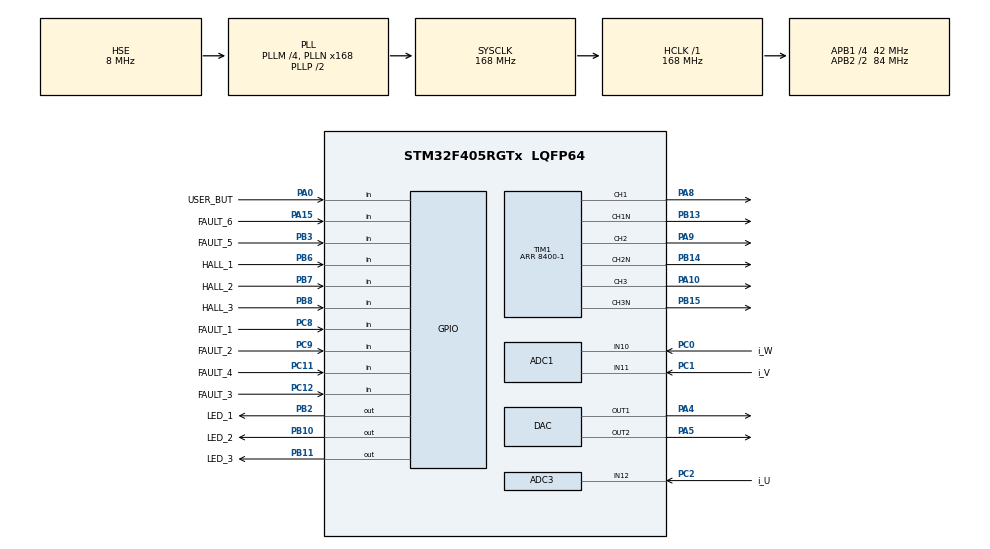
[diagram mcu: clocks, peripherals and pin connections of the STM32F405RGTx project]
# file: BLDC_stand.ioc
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Mcu.Family=STM32F4
PH0-OSC_IN.Signal=RCC_OSC_IN
RCC.CortexFreq_Value=168000000
TIM1.OCIdleState_1=TIM_OCIDLESTATE_SET
TIM1.OCIdleState_2=TIM_OCIDLESTATE_SET
TIM1.OCIdleState_3=TIM_OCIDLESTATE_SET
PC12.Signal=GPIO_Input
PC0.GPIO_Label=i_W
PB6.GPIO_Label=HALL_1
PB11.Signal=GPIO_Output
PB13.Signal=TIM1_CH1N
PB15.Signal=TIM1_CH3N
ADC3.Channel-0\#ChannelRegularConversion=ADC_CHANNEL_12
RCC.SYSCLKSource=RCC_SYSCLKSOURCE_PLLCLK
ProjectManager.StackSize=0x400
SH.COMP_DAC2_group.0=DAC_OUT2,DAC_OUT2
PA9.GPIO_ModeDefaultPP=GPIO_MODE_AF_OD
PB15.GPIO_ModeDefaultPP=GPIO_MODE_AF_OD
PA15.GPIO_Label=FAULT_6
RCC.HCLKFreq_Value=168000000
RCC.APB2TimFreq_Value=168000000
PB6.Signal=GPIO_Input
PA10.GPIO_ModeDefaultPP=GPIO_MODE_AF_OD
RCC.AHBFreq_Value=168000000
PH0-OSC_IN.Mode=HSE-External-Oscillator
ADC1.Channel-0\#ChannelRegularConversion=ADC_CHANNEL_10
RCC.HSE_VALUE=8000000
PB2.Signal=GPIO_Output
PB14.GPIO_ModeDefaultPP=GPIO_MODE_AF_OD
PA14.Mode=Serial_Wire
PB14.Mode=PWM Generation2 CH2 CH2N
TIM1.DeadTime=250
PC11.GPIO_Label=FAULT_4
PB7.Signal=GPIO_Input
PA8.Signal=S_TIM1_CH1
VP_TIM1_VS_ClockSourceINT.Mode=Internal
ADC1.SamplingTime-0\#ChannelRegularConversion=ADC_SAMPLETIME_3CYCLES
PB7.GPIO_Label=HALL_2
PH1-OSC_OUT.Mode=HSE-External-Oscillator
Mcu.Package=LQFP64
ADC3.Rank-0\#ChannelRegularConversion=1
PA10.Signal=S_TIM1_CH3
PA15.Signal=GPIO_Input
RCC.APB2CLKDivider=RCC_HCLK_DIV2
RCC.APB1TimFreq_Value=84000000
TIM1.Period=8400-1
PB13.Mode=PWM Generation1 CH1 CH1N
PC2.GPIO_Label=i_U
PB3.GPIO_Label=FAULT_5
RCC.PLLSourceVirtual=RCC_PLLSOURCE_HSE
SH.COMP_DAC1_group.0=DAC_OUT1,DAC_OUT1
TIM1.OCPolarity_1=TIM_OCPOLARITY_LOW
TIM1.OCPolarity_3=TIM_OCPOLARITY_LOW
TIM1.OCPolarity_2=TIM_OCPOLARITY_LOW
ADC1.Rank-0\#ChannelRegularConversion=1
PC9.GPIO_Label=FAULT_2
TIM1.CounterMode=TIM_COUNTERMODE_CENTERALIGNED1
PC11.Signal=GPIO_Input
PC8.Signal=GPIO_Input
PC2.Signal=ADCx_IN12
PB11.GPIO_Label=LED_3
TIM1.Channel-PWM\ Generation1\ CH1\ CH1N=TIM_CHANNEL_1
PC0.Signal=ADCx_IN10
RCC.APB1CLKDivider=RCC_HCLK_DIV4
PA0-WKUP.GPIO_Label=USER_BUT
PA0-WKUP.Signal=GPIO_Input
PB13.GPIO_ModeDefaultPP=GPIO_MODE_AF_OD
PC8.GPIO_Label=FAULT_1
PA13.Signal=SYS_JTMS-SWDIO
PB8.GPIO_Label=HALL_3
TIM1.Channel-PWM\ Generation2\ CH2\ CH2N=TIM_CHANNEL_2
SH.ADCx_IN12.0=ADC3_IN12,IN12
ADC3.SamplingTime-0\#ChannelRegularConversion=ADC_SAMPLETIME_3CYCLES
SH.S_TIM1_CH1.0=TIM1_CH1,PWM Generation1 CH1 CH1N
ProjectManager.TargetToolchain=STM32CubeIDE
PB10.GPIO_Label=LED_2
PA9.Signal=S_TIM1_CH2
TIM1.Channel-PWM\ Generation3\ CH3\ CH3N=TIM_CHANNEL_3
RCC.LSE_VALUE=32768
PB10.Signal=GPIO_Output
PB14.Signal=TIM1_CH2N
PA5.Signal=COMP_DAC2_group
board=custom
PA8.GPIO_ModeDefaultPP=GPIO_MODE_AF_OD
RCC.VCOOutputFreq_Value=336000000
TIM1.OCNPolarity_1=TIM_OCNPOLARITY_LOW
TIM1.OCNIdleState_3=TIM_OCNIDLESTATE_SET
PB15.Mode=PWM Generation3 CH3 CH3N
TIM1.OCNIdleState_2=TIM_OCNIDLESTATE_SET
TIM1.OCNIdleState_1=TIM_OCNIDLESTATE_SET
RCC.APB2Freq_Value=84000000
TIM1.OCNPolarity_3=TIM_OCNPOLARITY_LOW
TIM1.OCNPolarity_2=TIM_OCNPOLARITY_LOW
SH.ADCx_IN11.0=ADC1_IN11,IN11
SH.S_TIM1_CH2.0=TIM1_CH2,PWM Generation2 CH2 CH2N
PC1.GPIO_Label=i_V
PH1-OSC_OUT.Signal=RCC_OSC_OUT
PA13.Mode=Serial_Wire
Mcu.Name=STM32F405RGTx
RCC.48MHZClocksFreq_Value=84000000
PB3.Signal=GPIO_Input
PA4.Signal=COMP_DAC1_group
RCC.SYSCLKFreq_VALUE=168000000
ADC1.master=1
PC12.GPIO_Label=FAULT_3
PA14.Signal=SYS_JTCK-SWCLK
PB2.GPIO_Label=LED_1
SH.ADCx_IN10.0=ADC1_IN10,IN10
ProjectManager.HeapSize=0x200
SH.S_TIM1_CH3.0=TIM1_CH3,PWM Generation3 CH3 CH3N
NVIC.TIM1_UP_TIM10_IRQn=true\:0\:0\:false\:false\:true\:true\:true
RCC.HSI_VALUE=16000000
NVIC.PriorityGroup=NVIC_PRIORITYGROUP_4
ADC1.NbrOfConversionFlag=1
RCC.PLLM=4
RCC.PLLN=168
PB8.Signal=GPIO_Input
PC9.Signal=GPIO_Input
RCC.APB1Freq_Value=42000000
ADC3.NbrOfConversionFlag=1
PC1.Signal=ADCx_IN11

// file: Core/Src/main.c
/* USER CODE BEGIN Header */
/**
  ******************************************************************************
  * @file           : main.c
  * @brief          : Main program body
  ******************************************************************************
  * @attention
  *
  * <h2><center>&copy; Copyright (c) 2021 STMicroelectronics.
  * All rights reserved.</center></h2>
  *
  * This software component is licensed by ST under BSD 3-Clause license,
  * the "License"; You may not use this file except in compliance with the
  * License. You may obtain a copy of the License at:
  *                        opensource.org/licenses/BSD-3-Clause
  *
  ******************************************************************************
  */
/* USER CODE END Header */
#include "main.h"

ADC_HandleTypeDef hadc1;
ADC_HandleTypeDef hadc3;

DAC_HandleTypeDef hdac;

TIM_HandleTypeDef htim1;

/* USER CODE BEGIN PV */

uint8_t HAL_state[3];

/* USER CODE END PV */

void SystemClock_Config(void);
static void MX_GPIO_Init(void);
static void MX_ADC1_Init(void);
static void MX_ADC3_Init(void);
static void MX_DAC_Init(void);
static void MX_TIM1_Init(void);

int main(void)
{

  /* MCU Configuration--------------------------------------------------------*/

  /* Reset of all peripherals, Initializes the Flash interface and the Systick. */
  HAL_Init();

  /* Configure the system clock */
  SystemClock_Config();

  /* Initialize all configured peripherals */
  MX_GPIO_Init();
  MX_ADC1_Init();
  MX_ADC3_Init();
  MX_DAC_Init();
  MX_TIM1_Init();
  /* USER CODE BEGIN 2 */
  //User init

  flag = 0.01f;
  Amp = 0.2f;
  zadFreq = 0;

  HAL_TIM_Base_Start_IT(&htim1);
  Device_PWM_Channels_ON();

  /* USER CODE END 2 */

  /* Infinite loop */
  while (1)
  {

    /* USER CODE BEGIN 3 */

	  HAL_state[0] = HAL_GPIO_ReadPin(GPIOB, HALL_1_Pin);
	  HAL_state[1] = HAL_GPIO_ReadPin(GPIOB, HALL_2_Pin);
	  HAL_state[2] = HAL_GPIO_ReadPin(GPIOB, HALL_3_Pin);

	  if (HAL_state[0]){
		  HAL_GPIO_WritePin(GPIOB, LED_1_Pin, GPIO_PIN_SET);
	  } else {
		  HAL_GPIO_WritePin(GPIOB, LED_1_Pin, GPIO_PIN_RESET);
	  }

	  if (HAL_state[1]){
	  	HAL_GPIO_WritePin(GPIOB, LED_2_Pin, GPIO_PIN_SET);
	  } else {
	  	HAL_GPIO_WritePin(GPIOB, LED_2_Pin, GPIO_PIN_RESET);
	  }

	  if (HAL_state[2]){
	  	HAL_GPIO_WritePin(GPIOB, LED_3_Pin, GPIO_PIN_SET);
	  } else {
	  	HAL_GPIO_WritePin(GPIOB, LED_3_Pin, GPIO_PIN_RESET);
	  }

  }
  /* USER CODE END 3 */
}

void SystemClock_Config(void)
{
  RCC_OscInitTypeDef RCC_OscInitStruct = {0};
  RCC_ClkInitTypeDef RCC_ClkInitStruct = {0};

  /** Configure the main internal regulator output voltage
  */
  __HAL_RCC_PWR_CLK_ENABLE();
  __HAL_PWR_VOLTAGESCALING_CONFIG(PWR_REGULATOR_VOLTAGE_SCALE1);
  /** Initializes the RCC Oscillators according to the specified parameters
  * in the RCC_OscInitTypeDef structure.
  */
  RCC_OscInitStruct.OscillatorType = RCC_OSCILLATORTYPE_HSE;
  RCC_OscInitStruct.HSEState = RCC_HSE_ON;
  RCC_OscInitStruct.PLL.PLLState = RCC_PLL_ON;
  RCC_OscInitStruct.PLL.PLLSource = RCC_PLLSOURCE_HSE;
  RCC_OscInitStruct.PLL.PLLM = 4;
  RCC_OscInitStruct.PLL.PLLN = 168;
  RCC_OscInitStruct.PLL.PLLP = RCC_PLLP_DIV2;
  RCC_OscInitStruct.PLL.PLLQ = 4;
  if (HAL_RCC_OscConfig(&RCC_OscInitStruct) != HAL_OK)
  {
    Error_Handler();
  }
  /** Initializes the CPU, AHB and APB buses clocks
  */
  RCC_ClkInitStruct.ClockType = RCC_CLOCKTYPE_HCLK|RCC_CLOCKTYPE_SYSCLK
                              |RCC_CLOCKTYPE_PCLK1|RCC_CLOCKTYPE_PCLK2;
  RCC_ClkInitStruct.SYSCLKSource = RCC_SYSCLKSOURCE_PLLCLK;
  RCC_ClkInitStruct.AHBCLKDivider = RCC_SYSCLK_DIV1;
  RCC_ClkInitStruct.APB1CLKDivider = RCC_HCLK_DIV4;
  RCC_ClkInitStruct.APB2CLKDivider = RCC_HCLK_DIV2;

  if (HAL_RCC_ClockConfig(&RCC_ClkInitStruct, FLASH_LATENCY_5) != HAL_OK)
  {
    Error_Handler();
  }
}

static void MX_ADC1_Init(void)
{

  ADC_ChannelConfTypeDef sConfig = {0};

  /** Configure the global features of the ADC (Clock, Resolution, Data Alignment and number of conversion)
  */
  hadc1.Instance = ADC1;
  hadc1.Init.ClockPrescaler = ADC_CLOCK_SYNC_PCLK_DIV4;
  hadc1.Init.Resolution = ADC_RESOLUTION_12B;
  hadc1.Init.ScanConvMode = DISABLE;
  hadc1.Init.ContinuousConvMode = DISABLE;
  hadc1.Init.DiscontinuousConvMode = DISABLE;
  hadc1.Init.ExternalTrigConvEdge = ADC_EXTERNALTRIGCONVEDGE_NONE;
  hadc1.Init.ExternalTrigConv = ADC_SOFTWARE_START;
  hadc1.Init.DataAlign = ADC_DATAALIGN_RIGHT;
  hadc1.Init.NbrOfConversion = 1;
  hadc1.Init.DMAContinuousRequests = DISABLE;
  hadc1.Init.EOCSelection = ADC_EOC_SINGLE_CONV;
  if (HAL_ADC_Init(&hadc1) != HAL_OK)
  {
    Error_Handler();
  }
  /** Configure for the selected ADC regular channel its corresponding rank in the sequencer and its sample time.
  */
  sConfig.Channel = ADC_CHANNEL_10;
  sConfig.Rank = 1;
  sConfig.SamplingTime = ADC_SAMPLETIME_3CYCLES;
  if (HAL_ADC_ConfigChannel(&hadc1, &sConfig) != HAL_OK)
  {
    Error_Handler();
  }

}

static void MX_ADC3_Init(void)
{

  ADC_ChannelConfTypeDef sConfig = {0};

  /** Configure the global features of the ADC (Clock, Resolution, Data Alignment and number of conversion)
  */
  hadc3.Instance = ADC3;
  hadc3.Init.ClockPrescaler = ADC_CLOCK_SYNC_PCLK_DIV4;
  hadc3.Init.Resolution = ADC_RESOLUTION_12B;
  hadc3.Init.ScanConvMode = DISABLE;
  hadc3.Init.ContinuousConvMode = DISABLE;
  hadc3.Init.DiscontinuousConvMode = DISABLE;
  hadc3.Init.ExternalTrigConvEdge = ADC_EXTERNALTRIGCONVEDGE_NONE;
  hadc3.Init.ExternalTrigConv = ADC_SOFTWARE_START;
  hadc3.Init.DataAlign = ADC_DATAALIGN_RIGHT;
  hadc3.Init.NbrOfConversion = 1;
  hadc3.Init.DMAContinuousRequests = DISABLE;
  hadc3.Init.EOCSelection = ADC_EOC_SINGLE_CONV;
  if (HAL_ADC_Init(&hadc3) != HAL_OK)
  {
    Error_Handler();
  }
  /** Configure for the selected ADC regular channel its corresponding rank in the sequencer and its sample time.
  */
  sConfig.Channel = ADC_CHANNEL_12;
  sConfig.Rank = 1;
  sConfig.SamplingTime = ADC_SAMPLETIME_3CYCLES;
  if (HAL_ADC_ConfigChannel(&hadc3, &sConfig) != HAL_OK)
  {
    Error_Handler();
  }

}

static void MX_DAC_Init(void)
{

  DAC_ChannelConfTypeDef sConfig = {0};

  /** DAC Initialization
  */
  hdac.Instance = DAC;
  if (HAL_DAC_Init(&hdac) != HAL_OK)
  {
    Error_Handler();
  }
  /** DAC channel OUT1 config
  */
  sConfig.DAC_Trigger = DAC_TRIGGER_NONE;
  sConfig.DAC_OutputBuffer = DAC_OUTPUTBUFFER_ENABLE;
  if (HAL_DAC_ConfigChannel(&hdac, &sConfig, DAC_CHANNEL_1) != HAL_OK)
  {
    Error_Handler();
  }
  /** DAC channel OUT2 config
  */
  if (HAL_DAC_ConfigChannel(&hdac, &sConfig, DAC_CHANNEL_2) != HAL_OK)
  {
    Error_Handler();
  }

}

static void MX_TIM1_Init(void)
{

  TIM_ClockConfigTypeDef sClockSourceConfig = {0};
  TIM_MasterConfigTypeDef sMasterConfig = {0};
  TIM_OC_InitTypeDef sConfigOC = {0};
  TIM_BreakDeadTimeConfigTypeDef sBreakDeadTimeConfig = {0};

  htim1.Instance = TIM1;
  htim1.Init.Prescaler = 0;
  htim1.Init.CounterMode = TIM_COUNTERMODE_CENTERALIGNED1;
  htim1.Init.Period = 8400-1;
  htim1.Init.ClockDivision = TIM_CLOCKDIVISION_DIV1;
  htim1.Init.RepetitionCounter = 0;
  htim1.Init.AutoReloadPreload = TIM_AUTORELOAD_PRELOAD_DISABLE;
  if (HAL_TIM_Base_Init(&htim1) != HAL_OK)
  {
    Error_Handler();
  }
  sClockSourceConfig.ClockSource = TIM_CLOCKSOURCE_INTERNAL;
  if (HAL_TIM_ConfigClockSource(&htim1, &sClockSourceConfig) != HAL_OK)
  {
    Error_Handler();
  }
  if (HAL_TIM_PWM_Init(&htim1) != HAL_OK)
  {
    Error_Handler();
  }
  sMasterConfig.MasterOutputTrigger = TIM_TRGO_RESET;
  sMasterConfig.MasterSlaveMode = TIM_MASTERSLAVEMODE_DISABLE;
  if (HAL_TIMEx_MasterConfigSynchronization(&htim1, &sMasterConfig) != HAL_OK)
  {
    Error_Handler();
  }
  sConfigOC.OCMode = TIM_OCMODE_PWM1;
  sConfigOC.Pulse = 0;
  sConfigOC.OCPolarity = TIM_OCPOLARITY_LOW;
  sConfigOC.OCNPolarity = TIM_OCNPOLARITY_LOW;
  sConfigOC.OCFastMode = TIM_OCFAST_DISABLE;
  sConfigOC.OCIdleState = TIM_OCIDLESTATE_SET;
  sConfigOC.OCNIdleState = TIM_OCNIDLESTATE_SET;
  if (HAL_TIM_PWM_ConfigChannel(&htim1, &sConfigOC, TIM_CHANNEL_1) != HAL_OK)
  {
    Error_Handler();
  }
  if (HAL_TIM_PWM_ConfigChannel(&htim1, &sConfigOC, TIM_CHANNEL_2) != HAL_OK)
  {
    Error_Handler();
  }
  if (HAL_TIM_PWM_ConfigChannel(&htim1, &sConfigOC, TIM_CHANNEL_3) != HAL_OK)
  {
    Error_Handler();
  }
  sBreakDeadTimeConfig.OffStateRunMode = TIM_OSSR_DISABLE;
  sBreakDeadTimeConfig.OffStateIDLEMode = TIM_OSSI_DISABLE;
  sBreakDeadTimeConfig.LockLevel = TIM_LOCKLEVEL_OFF;
  sBreakDeadTimeConfig.DeadTime = 250;
  sBreakDeadTimeConfig.BreakState = TIM_BREAK_DISABLE;
  sBreakDeadTimeConfig.BreakPolarity = TIM_BREAKPOLARITY_HIGH;
  sBreakDeadTimeConfig.AutomaticOutput = TIM_AUTOMATICOUTPUT_DISABLE;
  if (HAL_TIMEx_ConfigBreakDeadTime(&htim1, &sBreakDeadTimeConfig) != HAL_OK)
  {
    Error_Handler();
  }
  HAL_TIM_MspPostInit(&htim1);

}

static void MX_GPIO_Init(void)
{
  GPIO_InitTypeDef GPIO_InitStruct = {0};

  /* GPIO Ports Clock Enable */
  __HAL_RCC_GPIOH_CLK_ENABLE();
  __HAL_RCC_GPIOC_CLK_ENABLE();
  __HAL_RCC_GPIOA_CLK_ENABLE();
  __HAL_RCC_GPIOB_CLK_ENABLE();

  /*Configure GPIO pin Output Level */
  HAL_GPIO_WritePin(GPIOB, LED_1_Pin|LED_2_Pin|LED_3_Pin, GPIO_PIN_RESET);

  /*Configure GPIO pins : USER_BUT_Pin FAULT_6_Pin */
  GPIO_InitStruct.Pin = USER_BUT_Pin|FAULT_6_Pin;
  GPIO_InitStruct.Mode = GPIO_MODE_INPUT;
  GPIO_InitStruct.Pull = GPIO_NOPULL;
  HAL_GPIO_Init(GPIOA, &GPIO_InitStruct);

  /*Configure GPIO pins : LED_1_Pin LED_2_Pin LED_3_Pin */
  GPIO_InitStruct.Pin = LED_1_Pin|LED_2_Pin|LED_3_Pin;
  GPIO_InitStruct.Mode = GPIO_MODE_OUTPUT_PP;
  GPIO_InitStruct.Pull = GPIO_NOPULL;
  GPIO_InitStruct.Speed = GPIO_SPEED_FREQ_LOW;
  HAL_GPIO_Init(GPIOB, &GPIO_InitStruct);

  /*Configure GPIO pins : FAULT_1_Pin FAULT_2_Pin FAULT_4_Pin FAULT_3_Pin */
  GPIO_InitStruct.Pin = FAULT_1_Pin|FAULT_2_Pin|FAULT_4_Pin|FAULT_3_Pin;
  GPIO_InitStruct.Mode = GPIO_MODE_INPUT;
  GPIO_InitStruct.Pull = GPIO_NOPULL;
  HAL_GPIO_Init(GPIOC, &GPIO_InitStruct);

  /*Configure GPIO pins : FAULT_5_Pin HALL_1_Pin HALL_2_Pin HALL_3_Pin */
  GPIO_InitStruct.Pin = FAULT_5_Pin|HALL_1_Pin|HALL_2_Pin|HALL_3_Pin;
  GPIO_InitStruct.Mode = GPIO_MODE_INPUT;
  GPIO_InitStruct.Pull = GPIO_NOPULL;
  HAL_GPIO_Init(GPIOB, &GPIO_InitStruct);

}

/* USER CODE BEGIN 4 */

unsigned short DPR_SEC(unsigned short HALL_U, unsigned short HALL_V,unsigned short HALL_W){

	unsigned short SEC;

	if ((HALL_U) == 0 && (HALL_V) == 0 && (HALL_W) == 0)
		SEC = 0;
	else if ((HALL_U) == 0 && (HALL_V) == 0 && (HALL_W) == 1) // 1
		SEC = 3;
	else if ((HALL_U) == 0 && (HALL_V) == 1 && (HALL_W) == 0) // 2
		SEC = 1;
	else if ((HALL_U) == 0 && (HALL_V) == 1 && (HALL_W) == 1) // 3
		SEC = 2;
	else if ((HALL_U) == 1 && (HALL_V) == 0 && (HALL_W) == 0) // 4
		SEC = 5;
	else if ((HALL_U) == 1 && (HALL_V) == 0 && (HALL_W) == 1) // 5
		SEC = 4;
	else if ((HALL_U) == 1 && (HALL_V) == 1 && (HALL_W) == 0) // 6
		SEC = 6;
	else if ((HALL_U) == 1 && (HALL_V) == 1 && (HALL_W) == 1)
		SEC = 0;

	return SEC;
}

void PWM_BLDC_4VT(TIM_TypeDef *Tim, float duty, unsigned short sec) {
	// 4 VT PWM
	int tmp = (unsigned short) (0.5f * (float) (Tim->ARR) * (1.0f + duty));
	int tmp1 = (Tim->ARR - tmp);
	//		IN		 |	  STM32
	//	VT1	VT3	VT5  |	1	2	3
	//	 U	 V	 W   |	U	V	W
	//	VT2	VT4	VT6  |	1n	2n	3n

	switch (sec) {

	case 1: // VT1 & VT4 < 0 || VT3 & VT2 > 0
		Tim->CCER &= ~(TIM_CCER_CC1E | TIM_CCER_CC1NE | TIM_CCER_CC2E
				| TIM_CCER_CC2NE | TIM_CCER_CC3E | TIM_CCER_CC3NE);
		Tim->CCER |= (TIM_CCER_CC1E | TIM_CCER_CC1NE |TIM_CCER_CC2E | TIM_CCER_CC2NE);
		Tim->CCR1 = tmp;
		Tim->CCR2 = tmp1;
		Tim->CCR3 = 0;
		break;

	case 2: // VT1 & VT6 < 0 || VT5 & VT2 > 0
		Tim->CCER &= ~(TIM_CCER_CC1E | TIM_CCER_CC1NE | TIM_CCER_CC2E
				| TIM_CCER_CC2NE | TIM_CCER_CC3E | TIM_CCER_CC3NE);
		Tim->CCER |= (TIM_CCER_CC1E | TIM_CCER_CC1NE |TIM_CCER_CC3E | TIM_CCER_CC3NE);
		Tim->CCR1 = tmp;
		Tim->CCR3 = tmp1;
		Tim->CCR2 = 0;

		break;

	case 3: // VT3 & VT6 < 0 || VT5 & VT4 > 0
		Tim->CCER &= ~(TIM_CCER_CC1E | TIM_CCER_CC1NE | TIM_CCER_CC2E
				| TIM_CCER_CC2NE | TIM_CCER_CC3E | TIM_CCER_CC3NE);
		Tim->CCER |= (TIM_CCER_CC2E | TIM_CCER_CC2NE |TIM_CCER_CC3E | TIM_CCER_CC3NE);
		Tim->CCR2 = tmp;
		Tim->CCR3 = tmp1;
		Tim->CCR1 = 0;
		break;
	case 4: // VT3 & VT2 < 0 || VT1 & VT4 > 0
		Tim->CCER &= ~(TIM_CCER_CC1E | TIM_CCER_CC1NE | TIM_CCER_CC2E
				| TIM_CCER_CC2NE | TIM_CCER_CC3E | TIM_CCER_CC3NE);
		Tim->CCER |= (TIM_CCER_CC1E | TIM_CCER_CC1NE |TIM_CCER_CC2E | TIM_CCER_CC2NE);
		Tim->CCR2 = tmp;
		Tim->CCR1 = tmp1;
		Tim->CCR3 = 0;
		break;
	case 5: // VT5 & VT2 < 0 || VT1 & VT6 > 0
		Tim->CCER &= ~(TIM_CCER_CC1E | TIM_CCER_CC1NE | TIM_CCER_CC2E
				| TIM_CCER_CC2NE | TIM_CCER_CC3E | TIM_CCER_CC3NE);
		Tim->CCER |= (TIM_CCER_CC1E | TIM_CCER_CC1NE |TIM_CCER_CC3E | TIM_CCER_CC3NE);
		Tim->CCR3 = tmp;
		Tim->CCR1 = tmp1;
		Tim->CCR2 = 0;
		break;
	case 6: // VT5 & VT4 < 0 || VT3 & VT6 > 0
		Tim->CCER &= ~(TIM_CCER_CC1E | TIM_CCER_CC1NE | TIM_CCER_CC2E
				| TIM_CCER_CC2NE | TIM_CCER_CC3E | TIM_CCER_CC3NE);
		Tim->CCER |= (TIM_CCER_CC2E | TIM_CCER_CC2NE |TIM_CCER_CC3E | TIM_CCER_CC3NE);
		Tim->CCR3 = tmp;
		Tim->CCR2 = tmp1;
		Tim->CCR1 = 0;
		break;
	default:
		Tim->CCR1 = 0;
		Tim->CCR2 = 0;
		Tim->CCR3 = 0;
		break;
	}

}

void PWM_BLDC_2VT(TIM_TypeDef *Tim, float duty, unsigned short sec,
		unsigned short dir) {
	// 2 VT PWM
	int tmp = (unsigned short) ((float) (Tim->ARR) * (duty));

	//		IN		 |	  STM32
	//	VT1	VT3	VT5  |	1	2	3
	//	 U	 V	 W   |	U	V	W
	//	VT2	VT4	VT6  |	1n	2n	3n

	if (dir) {
		switch (sec) {

		case 4: // VT1 & VT4 < 0
			Tim->CCER &= ~(TIM_CCER_CC1E | TIM_CCER_CC1NE | TIM_CCER_CC2E
					| TIM_CCER_CC2NE | TIM_CCER_CC3E | TIM_CCER_CC3NE);
			Tim->CCER |= (TIM_CCER_CC1E | TIM_CCER_CC1NE | TIM_CCER_CC2NE);
			Tim->CCR1 = tmp;
			Tim->CCR2 = Tim->ARR;
			Tim->CCR3 = 0;
			break;

		case 5: // VT1 & VT6 < 0
			Tim->CCER &= ~(TIM_CCER_CC1E | TIM_CCER_CC1NE | TIM_CCER_CC2E
					| TIM_CCER_CC2NE | TIM_CCER_CC3E | TIM_CCER_CC3NE);
			Tim->CCER |= (TIM_CCER_CC1E | TIM_CCER_CC1NE | TIM_CCER_CC3NE);
			Tim->CCR1 = tmp;
			Tim->CCR3 = Tim->ARR;
			Tim->CCR2 = 0;

			break;

		case 6: // VT3 & VT6 < 0
			Tim->CCER &= ~(TIM_CCER_CC1E | TIM_CCER_CC1NE | TIM_CCER_CC2E
					| TIM_CCER_CC2NE | TIM_CCER_CC3E | TIM_CCER_CC3NE);
			Tim->CCER |= (TIM_CCER_CC2E | TIM_CCER_CC2NE | TIM_CCER_CC3NE);
			Tim->CCR2 = tmp;
			Tim->CCR3 = Tim->ARR;
			Tim->CCR1 = 0;
			break;
		case 1: // VT3 & VT2 < 0
			Tim->CCER &= ~(TIM_CCER_CC1E | TIM_CCER_CC1NE | TIM_CCER_CC2E
					| TIM_CCER_CC2NE | TIM_CCER_CC3E | TIM_CCER_CC3NE);
			Tim->CCER |= (TIM_CCER_CC2E | TIM_CCER_CC2NE | TIM_CCER_CC1NE);
			Tim->CCR2 = tmp;
			Tim->CCR1 = Tim->ARR;
			Tim->CCR3 = 0;
			break;
		case 2: // VT5 & VT2 < 0
			Tim->CCER &= ~(TIM_CCER_CC1E | TIM_CCER_CC1NE | TIM_CCER_CC2E
					| TIM_CCER_CC2NE | TIM_CCER_CC3E | TIM_CCER_CC3NE);
			Tim->CCER |= (TIM_CCER_CC3E | TIM_CCER_CC3NE | TIM_CCER_CC1NE);
			Tim->CCR3 = tmp;
			Tim->CCR1 = Tim->ARR;
			Tim->CCR2 = 0;
			break;
		case 3: // VT5 & VT4 < 0
			Tim->CCER &= ~(TIM_CCER_CC1E | TIM_CCER_CC1NE | TIM_CCER_CC2E
					| TIM_CCER_CC2NE | TIM_CCER_CC3E | TIM_CCER_CC3NE);
			Tim->CCER |= (TIM_CCER_CC3E | TIM_CCER_CC3NE | TIM_CCER_CC2NE);
			Tim->CCR3 = tmp;
			Tim->CCR2 = Tim->ARR;
			Tim->CCR1 = 0;
			break;
		default:
			Tim->CCER &= ~(TIM_CCER_CC1E | TIM_CCER_CC1NE | TIM_CCER_CC2E
					| TIM_CCER_CC2NE | TIM_CCER_CC3E | TIM_CCER_CC3NE);
			Tim->CCR1 = 0;
			Tim->CCR2 = 0;
			Tim->CCR3 = 0;
			break;
		}
	} else {
		switch (sec) {
		case 1:
		// VT1 & VT4 < 0
		Tim->CCER &= ~(TIM_CCER_CC1E | TIM_CCER_CC1NE | TIM_CCER_CC2E
				| TIM_CCER_CC2NE | TIM_CCER_CC3E | TIM_CCER_CC3NE);
		Tim->CCER |= (TIM_CCER_CC1E | TIM_CCER_CC1NE | TIM_CCER_CC2NE);
		Tim->CCR1 = tmp;
		Tim->CCR2 = Tim->ARR;
		Tim->CCR3 = 0;
		break;

		case 2:
		// VT1 & VT6 < 0
		Tim->CCER &= ~(TIM_CCER_CC1E | TIM_CCER_CC1NE | TIM_CCER_CC2E
				| TIM_CCER_CC2NE | TIM_CCER_CC3E | TIM_CCER_CC3NE);
		Tim->CCER |= (TIM_CCER_CC1E | TIM_CCER_CC1NE | TIM_CCER_CC3NE);
		Tim->CCR1 = tmp;
		Tim->CCR3 = Tim->ARR;
		Tim->CCR2 = 0;

		break;

		case 3:
		// VT3 & VT6 < 0
		Tim->CCER &= ~(TIM_CCER_CC1E | TIM_CCER_CC1NE | TIM_CCER_CC2E
				| TIM_CCER_CC2NE | TIM_CCER_CC3E | TIM_CCER_CC3NE);
		Tim->CCER |= (TIM_CCER_CC2E | TIM_CCER_CC2NE | TIM_CCER_CC3NE);
		Tim->CCR2 = tmp;
		Tim->CCR3 = Tim->ARR;
		Tim->CCR1 = 0;
		break;
		case 4:
		// VT3 & VT2 < 0
		Tim->CCER &= ~(TIM_CCER_CC1E | TIM_CCER_CC1NE | TIM_CCER_CC2E
				| TIM_CCER_CC2NE | TIM_CCER_CC3E | TIM_CCER_CC3NE);
		Tim->CCER |= (TIM_CCER_CC2E | TIM_CCER_CC2NE | TIM_CCER_CC1NE);
		Tim->CCR2 = tmp;
		Tim->CCR1 = Tim->ARR;
		Tim->CCR3 = 0;
		break;
		case 5:
		// VT5 & VT2 < 0
		Tim->CCER &= ~(TIM_CCER_CC1E | TIM_CCER_CC1NE | TIM_CCER_CC2E
				| TIM_CCER_CC2NE | TIM_CCER_CC3E | TIM_CCER_CC3NE);
		Tim->CCER |= (TIM_CCER_CC3E | TIM_CCER_CC3NE | TIM_CCER_CC1NE);
		Tim->CCR3 = tmp;
		Tim->CCR1 = Tim->ARR;
		Tim->CCR2 = 0;
		break;
		case 6:
		// VT5 & VT4 < 0
		Tim->CCER &= ~(TIM_CCER_CC1E | TIM_CCER_CC1NE | TIM_CCER_CC2E
				| TIM_CCER_CC2NE | TIM_CCER_CC3E | TIM_CCER_CC3NE);
		Tim->CCER |= (TIM_CCER_CC3E | TIM_CCER_CC3NE | TIM_CCER_CC2NE);
		Tim->CCR3 = tmp;
		Tim->CCR2 = Tim->ARR;
		Tim->CCR1 = 0;
		break;
		default:
		Tim->CCER &= ~(TIM_CCER_CC1E | TIM_CCER_CC1NE | TIM_CCER_CC2E
				| TIM_CCER_CC2NE | TIM_CCER_CC3E | TIM_CCER_CC3NE);
		Tim->CCR1 = 0;
		Tim->CCR2 = 0;
		Tim->CCR3 = 0;
		break;
	}

}

}

void Device_PWM_Channels_ON(void)
{
TIM_CCxChannelCmd(TIM1, TIM_CHANNEL_1, TIM_CCx_ENABLE | TIM_CCxN_ENABLE);
TIM_CCxChannelCmd(TIM1, TIM_CHANNEL_2, TIM_CCx_ENABLE | TIM_CCxN_ENABLE);
TIM_CCxChannelCmd(TIM1, TIM_CHANNEL_3, TIM_CCx_ENABLE | TIM_CCxN_ENABLE);
TIM1->BDTR|=(TIM_BDTR_MOE);
}

void Device_PWM_Channels_OFF(void)
{
TIM_CCxChannelCmd(TIM1, TIM_CHANNEL_1, TIM_CCx_DISABLE | TIM_CCxN_DISABLE);
TIM_CCxChannelCmd(TIM1, TIM_CHANNEL_2, TIM_CCx_DISABLE | TIM_CCxN_DISABLE);
TIM_CCxChannelCmd(TIM1, TIM_CHANNEL_3, TIM_CCx_DISABLE | TIM_CCxN_DISABLE);
TIM1->BDTR &= ~(TIM_BDTR_MOE);
TIM1->BDTR &= ~(TIM_BDTR_OSSI);
}

void Device_SVPWM(TIM_TypeDef *Tim, float A, float B)
{

static float bufer[2];

float f_sin      = 0.0f;
float f_sin_0_60 = 0.0f;

float f_cos      = 0.0f;
float f_cos_0_60 = 0.0f;

static float module = 0.0f;

float Tb1 = 0.0f;
float Tb2 = 0.0f;
float T0  = 0.0f;

float t1 = 0.0f;
float t2 = 0.0f;
float t3  = 0.0f;

bufer[0]=A;
bufer[1]=B;
arm_cmplx_mag_f32(bufer,&module,2);

f_sin = bufer[1] / module;
f_cos = bufer[0] / module;

if(module==0)
{
Tim->CCR1 = (int)Tim->ARR/2;
Tim->CCR2 = (int)Tim->ARR/2;
Tim->CCR3 = (int)Tim->ARR/2;
}
//########################################### 1
 else if((f_sin >= sin_0) && (f_sin < sin_60)  &&\
    (f_cos > cos_60) && (f_cos <= cos_0) )
 {

 f_sin_0_60 = f_sin;
 f_cos_0_60 = f_cos;

 Tb1 = module * (sin_60 * f_cos_0_60 - cos_60 * f_sin_0_60);
 Tb2 = module * f_sin_0_60;
 T0  = 0.5f*(1.0f-Tb1-Tb2);

 t1 = Tb1+Tb2+T0;
 t2 = Tb2+T0;
 t3 = Tb1+T0;

Tim->CCR1 = (int)(Tim->ARR*t1+0);
Tim->CCR2 = (int)(Tim->ARR*t2+0);
Tim->CCR3 = (int)(Tim->ARR*T0+0);

 }
 //###########################################2
  else if((f_sin >= sin_60)   &&\
    (f_cos > cos_120) && (f_cos <= cos_60) )
 {

 f_sin_0_60 = f_sin * cos_60 - sin_60 * f_cos;
 f_cos_0_60 = f_cos * cos_60 + f_sin * sin_60;

 Tb1 = module * (sin_60 * f_cos_0_60 - cos_60 * f_sin_0_60);
 Tb2 = module * f_sin_0_60;
 T0  = 0.5f*(1.0f-Tb1-Tb2);

 t1 = Tb1+Tb2+T0;
 t2 = Tb2+T0;
 t3 = Tb1+T0;

Tim->CCR1 = (int)(Tim->ARR*t3+0);
Tim->CCR2 = (int)(Tim->ARR*t1+0);
Tim->CCR3 = (int)(Tim->ARR*T0+0);
 }
 //###########################################3
 else if((f_sin > sin_180) && (f_sin <= sin_120)  &&\
    (f_cos > cos_180) && (f_cos <= cos_120) )
 {

 f_sin_0_60 = f_sin * cos_120 - sin_120 * f_cos;
 f_cos_0_60 = f_cos * cos_120 + f_sin * sin_120;

 Tb1 = module * (sin_60 * f_cos_0_60 - cos_60 * f_sin_0_60);
 Tb2 = module * f_sin_0_60;
 T0  = 0.5f*(1.0f-Tb1-Tb2);

 t1 = Tb1+Tb2+T0;
 t2 = Tb2+T0;
 t3 = Tb1+T0;

Tim->CCR1 = (int)(Tim->ARR*T0+0);
Tim->CCR2 = (int)(Tim->ARR*t1+0);
Tim->CCR3 = (int)(Tim->ARR*t2+0);
 }
 //###########################################4
  else if((f_sin > sin_240) && (f_sin <= sin_180)  &&\
    (f_cos >= cos_180) && (f_cos < cos_240) )
 {

 f_sin_0_60 = f_sin * cos_180 - sin_180 * f_cos;
 f_cos_0_60 = f_cos * cos_180 + f_sin * sin_180;

 Tb1 = module * (sin_60 * f_cos_0_60 - cos_60 * f_sin_0_60);
 Tb2 = module * f_sin_0_60;
 T0  = 0.5f*(1.0f-Tb1-Tb2);

 t1 = Tb1+Tb2+T0;
 t2 = Tb2+T0;
 t3 = Tb1+T0;

Tim->CCR1 = (int)(Tim->ARR*T0+0);
Tim->CCR2 = (int)(Tim->ARR*t3+0);
Tim->CCR3 = (int)(Tim->ARR*t1+0);
 }
 //###########################################5
  else if( (f_sin <=sin_240)  &&\
    (f_cos >= cos_240) && (f_cos < cos_300) )
 {
 f_sin_0_60 = f_sin * cos_240 - sin_240 * f_cos;
 f_cos_0_60 = f_cos * cos_240 + f_sin * sin_240;

 Tb1 = module * (sin_60 * f_cos_0_60 - cos_60 * f_sin_0_60);
 Tb2 = module * f_sin_0_60;
 T0  = 0.5f*(1.0f-Tb1-Tb2);

 t1 = Tb1+Tb2+T0;
 t2 = Tb2+T0;
 t3 = Tb1+T0;

Tim->CCR1 = (int)(Tim->ARR*t2+0);
Tim->CCR2 = (int)(Tim->ARR*T0+0);
Tim->CCR3 = (int)(Tim->ARR*t1+0);
 }
 //###########################################6
 else if((f_sin >= sin_300) && (f_sin < sin_0)  &&\
    (f_cos >= cos_300) && (f_cos < cos_0) )
 {

 f_sin_0_60 = f_sin * cos_300 - sin_300 * f_cos;
 f_cos_0_60 = f_cos * cos_300 + f_sin * sin_300;

 Tb1 = module * (sin_60 * f_cos_0_60 - cos_60 * f_sin_0_60);
 Tb2 = module * f_sin_0_60;
 T0  = 0.5f*(1.0f-Tb1-Tb2);

 t1 = Tb1+Tb2+T0;
 t2 = Tb2+T0;
 t3 = Tb1+T0;

Tim->CCR1 = (int)(Tim->ARR*t1+0);
Tim->CCR2 = (int)(Tim->ARR*T0+0);
Tim->CCR3 = (int)(Tim->ARR*t3+0);
 }

}

void Device_Polar_to_AB(float Amp, float Rad, float *Bufer_A_B)
{
*Bufer_A_B     = Amp * arm_cos_f32(Rad);
*(Bufer_A_B+1) = Amp * arm_sin_f32(Rad);
}

/* USER CODE END 4 */

void Error_Handler(void)
{
  __disable_irq();
  while (1)
  {
  }
}

/************************ (C) COPYRIGHT STMicroelectronics *****END OF FILE****/
